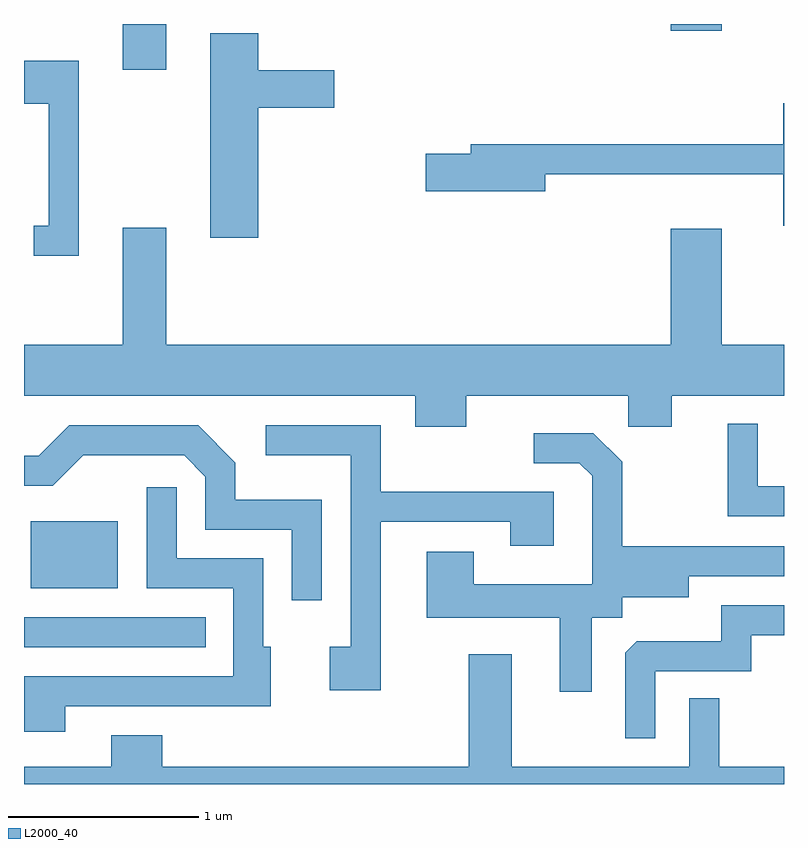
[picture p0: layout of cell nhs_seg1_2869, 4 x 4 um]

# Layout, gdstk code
import gdstk
lib = gdstk.Library(unit=1e-6, precision=1e-09)
def R(c, l, rs):  # rectangles x0, y0, x1, y1
    for r in rs: c.add(gdstk.rectangle(r[:2], r[2:], *l))
def P(c, l, *ps):  # polygons
    for p in ps: c.add(gdstk.Polygon(p, *l))
L2000_40 = (2000, 40)

nhs_seg1_2869 = lib.new_cell('nhs_seg1_2869')
R(nhs_seg1_2869, L2000_40, [(271.611,940.431,272.568,940.589), (271.646,940.741,272.104,941.094), (272.131,943.471,272.359,943.712), (275.016,943.676,275.284,943.712)])
P(nhs_seg1_2869, L2000_40, [(272.844,943.271),(273.244,943.271),(273.244,943.469),(272.844,943.469),(272.844,943.664),(272.591,943.664),(272.591,942.586),(272.844,942.586)],
  [(271.899,943.519),(271.611,943.519),(271.611,943.291),(271.741,943.291),(271.741,942.649),(271.663,942.649),(271.663,942.491),(271.899,942.491)],
  [(275.611,943.294),(275.606,943.294),(275.606,943.079),(273.961,943.079),(273.961,943.029),(273.726,943.029),(273.726,942.831),(274.354,942.831),(274.354,942.921),(275.606,942.921),(275.606,942.651),(275.611,942.651)],
  [(273.939,941.756),(274.791,941.756),(274.791,941.591),(275.019,941.591),(275.019,941.756),(275.611,941.756),(275.611,942.024),(275.284,942.024),(275.284,942.634),(275.016,942.634),(275.016,942.024),(272.359,942.024),(272.359,942.639),(272.131,942.639),(272.131,942.024),(271.611,942.024),(271.611,941.756),(273.671,941.756),(273.671,941.591),(273.939,941.591)],
  [(275.611,941.279),(275.474,941.279),(275.474,941.608),(275.316,941.608),(275.316,941.121),(275.611,941.121)],
  [(273.179,941.209),(272.724,941.209),(272.724,941.402),(272.527,941.599),(271.849,941.599),(271.689,941.439),(271.611,941.439),(271.611,941.281),(271.762,941.281),(271.922,941.441),(272.454,941.441),(272.566,941.329),(272.566,941.051),(273.021,941.051),(273.021,940.678),(273.179,940.678)],
  [(273.489,941.091),(274.171,941.091),(274.171,940.966),(274.399,940.966),(274.399,941.249),(273.489,941.249),(273.489,941.599),(272.883,941.599),(272.883,941.441),(273.331,941.441),(273.331,940.434),(273.221,940.434),(273.221,940.206),(273.489,940.206)],
  [(274.599,940.586),(274.759,940.586),(274.759,940.696),(275.109,940.696),(275.109,940.806),(275.611,940.806),(275.611,940.964),(274.759,940.964),(274.759,941.407),(274.607,941.559),(274.293,941.559),(274.293,941.401),(274.534,941.401),(274.601,941.334),(274.601,940.764),(273.979,940.764),(273.979,940.934),(273.731,940.934),(273.731,940.586),(274.431,940.586),(274.431,940.198),(274.599,940.198)],
  [(271.829,940.121),(272.909,940.121),(272.909,940.434),(272.869,940.434),(272.869,940.899),(272.414,940.899),(272.414,941.273),(272.256,941.273),(272.256,940.741),(272.711,940.741),(272.711,940.279),(271.611,940.279),(271.611,939.986),(271.829,939.986)],
  [(274.934,940.306),(275.439,940.306),(275.439,940.496),(275.611,940.496),(275.611,940.654),(275.281,940.654),(275.281,940.464),(274.837,940.464),(274.776,940.404),(274.776,939.953),(274.934,939.953)],
  [(275.611,939.804),(275.269,939.804),(275.269,940.163),(275.111,940.163),(275.111,939.804),(274.179,939.804),(274.179,940.394),(273.951,940.394),(273.951,939.804),(272.339,939.804),(272.339,939.969),(272.071,939.969),(272.071,939.804),(271.611,939.804),(271.611,939.712),(275.611,939.712)])

lib.write_gds('nhs_seg1_2869.gds')
